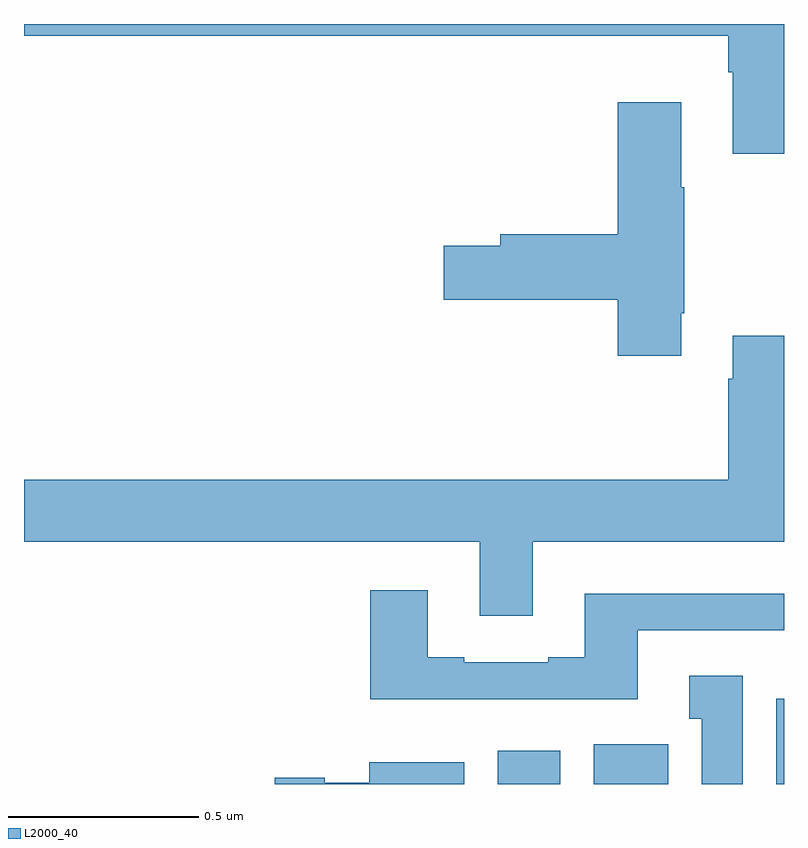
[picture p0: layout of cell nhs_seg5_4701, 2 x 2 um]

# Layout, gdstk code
import gdstk
lib = gdstk.Library(unit=1e-6, precision=1e-09)
def R(c, l, rs):  # rectangles x0, y0, x1, y1
    for r in rs: c.add(gdstk.rectangle(r[:2], r[2:], *l))
def P(c, l, *ps):  # polygons
    for p in ps: c.add(gdstk.Polygon(p, *l))
L2000_40 = (2000, 40)

nhs_seg5_4701 = lib.new_cell('nhs_seg5_4701')
R(nhs_seg5_4701, L2000_40, [(175.247,846.799,175.411,846.886), (175.499,846.799,175.696,846.904), (175.979,846.799,176,847.024)])
P(nhs_seg5_4701, L2000_40, [(176,848.799),(174,848.799),(174,848.768),(175.853,848.768),(175.853,848.672),(175.865,848.672),(175.865,848.457),(176,848.457)],
  [(175.729,848.038),(175.737,848.038),(175.737,848.369),(175.729,848.369),(175.729,848.593),(175.562,848.593),(175.562,848.246),(175.253,848.246),(175.253,848.216),(175.104,848.216),(175.104,848.074),(175.562,848.074),(175.562,847.926),(175.729,847.926)],
  [(175.339,847.436),(176,847.436),(176,847.978),(175.865,847.978),(175.865,847.865),(175.853,847.865),(175.853,847.6),(174,847.6),(174,847.436),(175.199,847.436),(175.199,847.242),(175.339,847.242)],
  [(175.615,847.203),(176,847.203),(176,847.3),(175.475,847.3),(175.475,847.132),(175.379,847.132),(175.379,847.119),(175.159,847.119),(175.159,847.132),(175.063,847.132),(175.063,847.309),(174.911,847.309),(174.911,847.022),(175.615,847.022)],
  [(175.891,847.084),(175.751,847.084),(175.751,846.971),(175.784,846.971),(175.784,846.799),(175.891,846.799)],
  [(175.159,846.856),(174.908,846.856),(174.908,846.802),(174.792,846.802),(174.792,846.815),(174.66,846.815),(174.66,846.799),(175.159,846.799)])

lib.write_gds('nhs_seg5_4701.gds')
